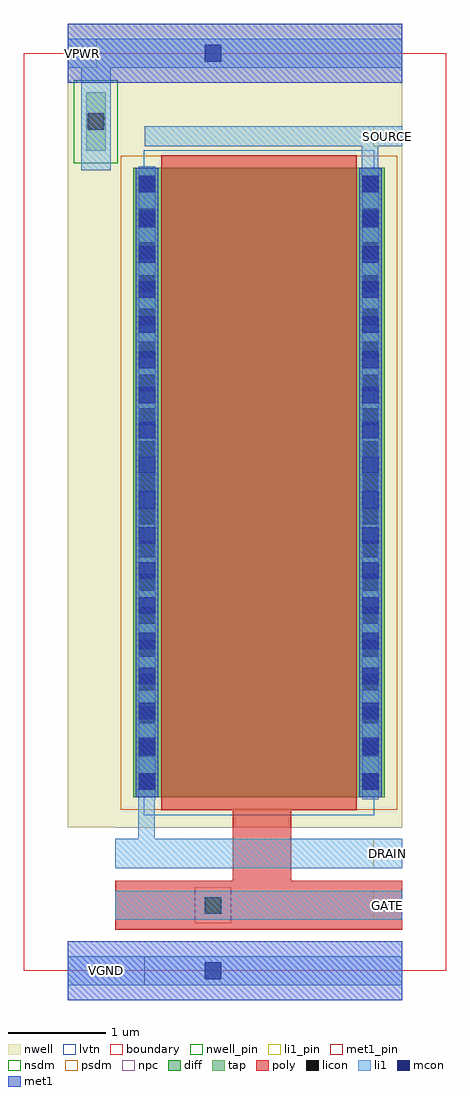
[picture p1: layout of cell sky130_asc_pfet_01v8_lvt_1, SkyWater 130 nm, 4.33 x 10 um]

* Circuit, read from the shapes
.subckt sky130_asc_pfet_01v8_lvt_1 DRAIN GATE SOURCE VGND VPWR
XM1 SOURCE GATE DRAIN VPWR sky130_fd_pr__pfet_01v8_lvt w=6.45 l=2
.ends

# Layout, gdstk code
import gdstk
lib = gdstk.Library(unit=1e-6, precision=1e-09)
def R(c, l, rs):  # rectangles x0, y0, x1, y1
    for r in rs: c.add(gdstk.rectangle(r[:2], r[2:], *l))
def A(c, l, x, y, w, h, nx, ny, dx, dy):  # array of equal rectangles
    R(c, l, [(x+i*dx, y+j*dy, x+i*dx+w, y+j*dy+h) for i in range(nx) for j in range(ny)])
nwell_pin = (64, 16)
nwell = (64, 20)
diff = (65, 20)
tap = (65, 44)
poly = (66, 20)
licon = (66, 44)
li1_pin = (67, 16)
li1 = (67, 20)
mcon = (67, 44)
met1_pin = (68, 16)
met1 = (68, 20)
nsdm = (93, 44)
psdm = (94, 20)
npc = (95, 20)
lvtn = (125, 44)
boundary = (235, 4)

sky130_asc_pfet_01v8_lvt = lib.new_cell('sky130_asc_pfet_01v8_lvt_1')
R(sky130_asc_pfet_01v8_lvt, nwell_pin, [(0.45,9.25,0.75,9.55)])
R(sky130_asc_pfet_01v8_lvt, nwell, [(0.94,1.465,3.88,1.47), (0.45,1.47,3.88,9.7)])
R(sky130_asc_pfet_01v8_lvt, diff, [(1.12,1.775,3.7,8.225)])
R(sky130_asc_pfet_01v8_lvt, tap, [(0.64,8.4,0.84,9)])
R(sky130_asc_pfet_01v8_lvt, poly, [(0.94,0.42,3.88,0.92), (2.14,0.92,2.74,1.645), (1.41,1.645,3.41,8.355)])
A(sky130_asc_pfet_01v8_lvt, licon, 1.18, 1.855, 0.17, 0.17, 1, 19, 0, 0.34)
A(sky130_asc_pfet_01v8_lvt, licon, 3.47, 1.855, 0.17, 0.17, 1, 19, 0, 0.34)
R(sky130_asc_pfet_01v8_lvt, licon, [(1.855,0.585,2.025,0.755), (0.655,8.615,0.825,8.785)])
R(sky130_asc_pfet_01v8_lvt, li1_pin, [(3.58,0.52,3.88,0.82), (3.58,1.05,3.88,1.35), (3.58,8.45,3.88,8.65)])
R(sky130_asc_pfet_01v8_lvt, li1, [(0.45,-0.15,3.88,0.15), (0.94,0.52,3.88,0.82), (0.94,1.05,3.88,1.35), (1.175,1.35,1.345,1.755), (1.175,1.755,1.35,1.87), (3.47,1.755,3.64,8.13), (1.18,1.87,1.35,8.245), (3.465,8.13,3.64,8.245), (0.59,8.2,0.89,9.25), (3.465,8.245,3.635,8.45), (1.24,8.45,3.88,8.65), (0.45,9.25,3.88,9.55)])
A(sky130_asc_pfet_01v8_lvt, mcon, 1.18, 1.855, 0.17, 0.17, 1, 18, 0, 0.36)
A(sky130_asc_pfet_01v8_lvt, mcon, 3.47, 1.855, 0.17, 0.17, 1, 18, 0, 0.36)
R(sky130_asc_pfet_01v8_lvt, mcon, [(1.855,-0.085,2.025,0.085), (1.855,9.315,2.025,9.485)])
R(sky130_asc_pfet_01v8_lvt, met1_pin, [(0.45,-0.15,1.24,0.15)])
R(sky130_asc_pfet_01v8_lvt, met1, [(0.45,-0.3,3.88,0.3), (1.15,1.775,1.38,8.225), (3.44,1.775,3.67,8.225), (0.45,9.1,3.88,9.7)])
R(sky130_asc_pfet_01v8_lvt, nsdm, [(0.515,8.275,0.965,9.125)])
R(sky130_asc_pfet_01v8_lvt, psdm, [(0.995,1.65,3.825,8.35)])
R(sky130_asc_pfet_01v8_lvt, npc, [(1.755,0.485,2.125,0.855)])
R(sky130_asc_pfet_01v8_lvt, lvtn, [(1.23,1.595,3.59,8.405)])
R(sky130_asc_pfet_01v8_lvt, boundary, [(0,0,4.33,9.4)])
sky130_asc_pfet_01v8_lvt.add(gdstk.Label('GATE', (3.73,0.67), layer=67, texttype=16))
sky130_asc_pfet_01v8_lvt.add(gdstk.Label('SOURCE', (3.73,8.55), layer=67, texttype=16))
sky130_asc_pfet_01v8_lvt.add(gdstk.Label('DRAIN', (3.73,1.2), layer=67, texttype=16))
sky130_asc_pfet_01v8_lvt.add(gdstk.Label('VPWR', (0.6,9.4), layer=64, texttype=16))
sky130_asc_pfet_01v8_lvt.add(gdstk.Label('VGND', (0.845,0), layer=68, texttype=16))

lib.write_gds('sky130_asc_pfet_01v8_lvt_1.gds')
